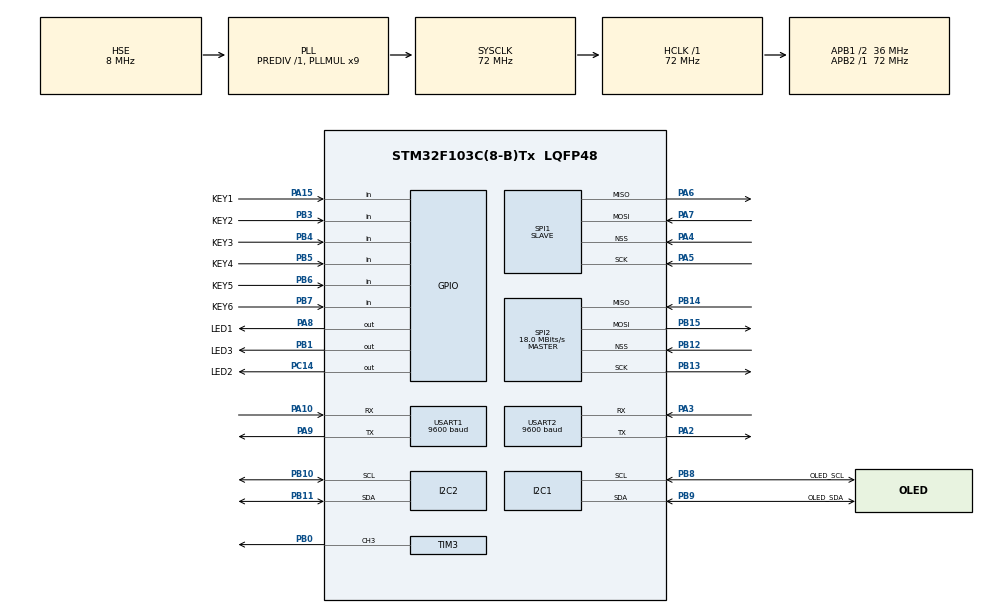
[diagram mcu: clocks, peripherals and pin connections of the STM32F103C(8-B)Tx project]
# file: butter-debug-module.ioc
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Dma.Request0=USART1_RX
Dma.Request1=USART1_TX
Dma.Request2=USART2_RX
Dma.Request3=USART2_TX
Dma.USART1_RX.0.Direction=DMA_PERIPH_TO_MEMORY
Dma.USART1_RX.0.Instance=DMA1_Channel5
Dma.USART1_RX.0.MemDataAlignment=DMA_MDATAALIGN_BYTE
Dma.USART1_RX.0.MemInc=DMA_MINC_ENABLE
Dma.USART1_RX.0.Mode=DMA_NORMAL
Dma.USART1_RX.0.PeriphDataAlignment=DMA_PDATAALIGN_BYTE
Dma.USART1_RX.0.PeriphInc=DMA_PINC_DISABLE
Dma.USART1_RX.0.Priority=DMA_PRIORITY_LOW
Dma.USART1_TX.1.Direction=DMA_MEMORY_TO_PERIPH
Dma.USART1_TX.1.Instance=DMA1_Channel4
Dma.USART1_TX.1.MemDataAlignment=DMA_MDATAALIGN_BYTE
Dma.USART1_TX.1.MemInc=DMA_MINC_ENABLE
Dma.USART1_TX.1.Mode=DMA_NORMAL
Dma.USART1_TX.1.PeriphDataAlignment=DMA_PDATAALIGN_BYTE
Dma.USART1_TX.1.PeriphInc=DMA_PINC_DISABLE
Dma.USART1_TX.1.Priority=DMA_PRIORITY_LOW
Dma.USART2_RX.2.Direction=DMA_PERIPH_TO_MEMORY
Dma.USART2_RX.2.Instance=DMA1_Channel6
Dma.USART2_RX.2.MemDataAlignment=DMA_MDATAALIGN_BYTE
Dma.USART2_RX.2.MemInc=DMA_MINC_ENABLE
Dma.USART2_RX.2.Mode=DMA_NORMAL
Dma.USART2_RX.2.PeriphDataAlignment=DMA_PDATAALIGN_BYTE
Dma.USART2_RX.2.PeriphInc=DMA_PINC_DISABLE
Dma.USART2_RX.2.Priority=DMA_PRIORITY_LOW
Dma.USART2_TX.3.Direction=DMA_MEMORY_TO_PERIPH
Dma.USART2_TX.3.Instance=DMA1_Channel7
Dma.USART2_TX.3.MemDataAlignment=DMA_MDATAALIGN_BYTE
Dma.USART2_TX.3.MemInc=DMA_MINC_ENABLE
Dma.USART2_TX.3.Mode=DMA_NORMAL
Dma.USART2_TX.3.PeriphDataAlignment=DMA_PDATAALIGN_BYTE
Dma.USART2_TX.3.PeriphInc=DMA_PINC_DISABLE
Dma.USART2_TX.3.Priority=DMA_PRIORITY_LOW
FREERTOS.INCLUDE_vTaskDelayUntil=1
FREERTOS.Queues01=queuekey1,16,uint8_t,0,Dynamic,NULL,NULL
FREERTOS.Tasks01=defaultTask,-3,128,StartDefaultTask,Default,NULL,Dynamic,NULL,NULL;Buzzer_task,-1,128,buzzer_task,As external,NULL,Dynamic,NULL,NULL;Button_task,-1,128,button_task,As external,NULL,Dynamic,NULL,NULL;LED2_task,-2,128,led2_task,As external,NULL,Dynamic,NULL,NULL;LED3_task,-2,128,led3_task,As external,NULL,Dynamic,NULL,NULL;LED1_task,-2,128,led1_task,As external,NULL,Dynamic,NULL,NULL;ShellTask,-2,128,shellTask,As external,NULL,Dynamic,NULL,NULL
FREERTOS.configMAX_PRIORITIES=32
FREERTOS.configTOTAL_HEAP_SIZE=4476
FREERTOS.configUSE_COUNTING_SEMAPHORES=1
FREERTOS.configUSE_IDLE_HOOK=0
FREERTOS.configUSE_PREEMPTION=1
FREERTOS.configUSE_RECURSIVE_MUTEXES=1
FREERTOS.configUSE_TASK_NOTIFICATIONS=1
FREERTOS.configUSE_TRACE_FACILITY=1
Mcu.Family=STM32F1
Mcu.Name=STM32F103C(8-B)Tx
Mcu.Package=LQFP48
NVIC.DMA1_Channel4_IRQn=true\:5\:0\:true\:false\:true\:true\:false\:true\:true
NVIC.DMA1_Channel5_IRQn=true\:5\:0\:true\:false\:true\:true\:false\:true\:true
NVIC.DMA1_Channel6_IRQn=true\:5\:0\:false\:false\:true\:true\:false\:true\:true
NVIC.DMA1_Channel7_IRQn=true\:5\:0\:false\:false\:true\:true\:false\:true\:true
NVIC.PriorityGroup=NVIC_PRIORITYGROUP_4
NVIC.TIM1_UP_IRQn=true\:15\:0\:false\:false\:true\:false\:false\:true\:true
NVIC.TIM2_IRQn=true\:5\:0\:true\:false\:true\:true\:true\:true\:true
NVIC.TIM3_IRQn=true\:5\:0\:true\:false\:true\:true\:true\:true\:true
NVIC.TimeBase=TIM1_UP_IRQn
NVIC.TimeBaseIP=TIM1
NVIC.USART1_IRQn=true\:5\:0\:true\:false\:true\:true\:true\:true\:true
NVIC.USART2_IRQn=true\:5\:0\:true\:false\:true\:true\:true\:true\:true
PA10.GPIO_PuPd=GPIO_PULLUP
PA10.Mode=Asynchronous
PA10.Signal=USART1_RX
PA13.Mode=Serial_Wire
PA13.Signal=SYS_JTMS-SWDIO
PA14.Mode=Serial_Wire
PA14.Signal=SYS_JTCK-SWCLK
PA15.GPIO_Label=KEY1
PA15.GPIO_PuPd=GPIO_PULLUP
PA15.Signal=GPIO_Input
PA2.Mode=Asynchronous
PA2.Signal=USART2_TX
PA3.Mode=Asynchronous
PA3.Signal=USART2_RX
PA4.Mode=NSS_Signal_Hard_Input
PA4.Signal=SPI1_NSS
PA5.Mode=Full_Duplex_Slave
PA5.Signal=SPI1_SCK
PA6.Mode=Full_Duplex_Slave
PA6.Signal=SPI1_MISO
PA7.Mode=Full_Duplex_Slave
PA7.Signal=SPI1_MOSI
PA8.GPIO_Label=LED1
PA8.GPIO_ModeDefaultOutputPP=GPIO_MODE_OUTPUT_PP
PA8.GPIO_PuPd=GPIO_PULLUP
PA8.GPIO_Speed=GPIO_SPEED_FREQ_MEDIUM
PA8.PinState=GPIO_PIN_RESET
PA8.Signal=GPIO_Output
PA9.Mode=Asynchronous
PA9.Signal=USART1_TX
PB0.Signal=S_TIM3_CH3
PB1.GPIO_Label=LED3
PB1.GPIO_PuPd=GPIO_PULLUP
PB1.GPIO_Speed=GPIO_SPEED_FREQ_MEDIUM
PB1.Signal=GPIO_Output
PB10.Mode=I2C
PB10.Signal=I2C2_SCL
PB11.Mode=I2C
PB11.Signal=I2C2_SDA
PB12.Mode=NSS_Signal_Hard_Input
PB12.Signal=SPI2_NSS
PB13.Mode=Full_Duplex_Master
PB13.Signal=SPI2_SCK
PB14.Mode=Full_Duplex_Master
PB14.Signal=SPI2_MISO
PB15.Mode=Full_Duplex_Master
PB15.Signal=SPI2_MOSI
PB3.GPIO_Label=KEY2
PB3.GPIO_PuPd=GPIO_PULLUP
PB3.Signal=GPIO_Input
PB4.GPIO_Label=KEY3
PB4.GPIO_PuPd=GPIO_PULLUP
PB4.Signal=GPIO_Input
PB5.GPIO_Label=KEY4
PB5.GPIO_PuPd=GPIO_PULLUP
PB5.Signal=GPIO_Input
PB6.GPIO_Label=KEY5
PB6.GPIO_PuPd=GPIO_PULLUP
PB6.Signal=GPIO_Input
PB7.GPIO_Label=KEY6
PB7.GPIO_PuPd=GPIO_PULLUP
PB7.Signal=GPIO_Input
PB8.GPIO_Label=OLED_SCL
PB8.Mode=I2C
PB8.Signal=I2C1_SCL
PB9.GPIO_Label=OLED_SDA
PB9.Mode=I2C
PB9.Signal=I2C1_SDA
PC14-OSC32_IN.GPIO_Label=LED2
PC14-OSC32_IN.GPIO_ModeDefaultOutputPP=GPIO_MODE_OUTPUT_PP
PC14-OSC32_IN.GPIO_PuPd=GPIO_PULLUP
PC14-OSC32_IN.GPIO_Speed=GPIO_SPEED_FREQ_MEDIUM
PC14-OSC32_IN.PinState=GPIO_PIN_RESET
PC14-OSC32_IN.Signal=GPIO_Output
PD0-OSC_IN.Mode=HSE-External-Oscillator
PD0-OSC_IN.Signal=RCC_OSC_IN
PD1-OSC_OUT.Mode=HSE-External-Oscillator
PD1-OSC_OUT.Signal=RCC_OSC_OUT
ProjectManager.HeapSize=0x200
ProjectManager.StackSize=0x400
ProjectManager.TargetToolchain=MDK-ARM V5.32
RCC.AHBFreq_Value=72000000
RCC.APB1CLKDivider=RCC_HCLK_DIV2
RCC.APB1Freq_Value=36000000
RCC.APB1TimFreq_Value=72000000
RCC.APB2Freq_Value=72000000
RCC.APB2TimFreq_Value=72000000
RCC.HCLKFreq_Value=72000000
RCC.PLLMUL=RCC_PLL_MUL9
RCC.PLLSourceVirtual=RCC_PLLSOURCE_HSE
RCC.SYSCLKFreq_VALUE=72000000
RCC.SYSCLKSource=RCC_SYSCLKSOURCE_PLLCLK
RCC.USBFreq_Value=48000000
RCC.USBPrescaler=RCC_USBCLKSOURCE_PLL_DIV1_5
SH.S_TIM3_CH3.0=TIM3_CH3,PWM Generation3 CH3
SPI1.DataSize=SPI_DATASIZE_16BIT
SPI1.Direction=SPI_DIRECTION_2LINES
SPI1.Mode=SPI_MODE_SLAVE
SPI1.VirtualNSS=VM_NSSHARD
SPI1.VirtualType=VM_SLAVE
SPI2.CalculateBaudRate=18.0 MBits/s
SPI2.Direction=SPI_DIRECTION_2LINES
SPI2.Mode=SPI_MODE_MASTER
SPI2.VirtualNSS=VM_NSSHARD
SPI2.VirtualType=VM_MASTER
TIM2.AutoReloadPreload=TIM_AUTORELOAD_PRELOAD_ENABLE
TIM2.Period=7200-1
TIM2.Prescaler=200-1
TIM3.Channel-PWM\ Generation3\ CH3=TIM_CHANNEL_3
USART1.BaudRate=9600
USART1.VirtualMode=VM_ASYNC
USART2.BaudRate=9600
USART2.VirtualMode=VM_ASYNC
VP_CRC_VS_CRC.Mode=CRC_Activate
VP_FREERTOS_VS_CMSIS_V1.Mode=CMSIS_V1
VP_SYS_VS_tim1.Mode=TIM1
VP_TIM2_VS_ClockSourceINT.Mode=Internal
VP_TIM3_VS_ClockSourceINT.Mode=Internal
board=custom

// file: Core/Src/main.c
/* USER CODE BEGIN Header */
/**
  ******************************************************************************
  * @file           : main.c
  * @brief          : Main program body
  ******************************************************************************
  * @attention
  *
  * Copyright (c) 2024 STMicroelectronics.
  * All rights reserved.
  *
  * This software is licensed under terms that can be found in the LICENSE file
  * in the root directory of this software component.
  * If no LICENSE file comes with this software, it is provided AS-IS.
  *
  ******************************************************************************
  */
/* USER CODE END Header */
#include "main.h"
#include "cmsis_os.h"
#include "crc.h"
#include "dma.h"
#include "i2c.h"
#include "spi.h"
#include "tim.h"
#include "usart.h"
#include "gpio.h"

/* USER CODE BEGIN Includes */
#include "stdio.h"
#include "bsp_usart.h"
#include "OLED_IIC_Config.h"
#include "OLED_Function.h"
#include "OLED_Front.h"
#include "Buzzer.h"
#include "KEY.h"
#include "multi_button.h"
#include "self_def_massage.h"
#include "ring_buffer.h"
#include "elog.h"
#include "elog_cfg.h"
#include "shell_port.h"
#include "button_motor.h"

/* USER CODE END Includes */

/* USER CODE BEGIN PTD */
//#define LOG_TAG  "main"
extern uint8_t DataBuff[BUF_SIZE];
extern DMA_HandleTypeDef hdma_usart1_rx;
//extern uint8_t KEY_flag;
//extern struct Button KEY_1;
extern uint8_t ringbuff[RING_BUFF_SIZE];
extern stRingBuff Ring_Buff;
/* USER CODE END PTD */

/* USER CODE BEGIN PD */
	#define LOG_TAG         "main"
static TaskHandle_t xHandleTaskUserIF = NULL;

//#ifdef __GNUC__
//#define PUTCHAR_PROTOTYPE int __io_putchar(int ch)
//#else
//#define PUTCHAR_PROTOTYPE int fputc(int ch, FILE *f)
//#endif
//PUTCHAR_PROTOTYPE
//{
//    /*	进入临界区	*/
//    taskENTER_CRITICAL();
//    HAL_UART_Transmit(&huart2, (uint8_t *)&ch, 1, 0xFFFF);
//    /*	退出临界区	*/
//    taskEXIT_CRITICAL();
//    return ch;
//}

/* USER CODE END PD */

/* USER CODE BEGIN PV */
uint8_t recv_buf = 0;
/* USER CODE END PV */

void SystemClock_Config(void);
void MX_FREERTOS_Init(void);
/* USER CODE BEGIN PFP */
int fputc(int ch, FILE *f)
{
  HAL_UART_Transmit(&huart1, (uint8_t *)&ch, 1, 0xffff);
  return ch;
}

int fgetc(FILE *f)
{
  uint8_t ch = 0;
  HAL_UART_Receive(&huart1, &ch, 1, 0xffff);
  return ch;
}
/* USER CODE END PFP */

/* USER CODE BEGIN 0 */
uint32_t temp = 0;

SHELL_EXPORT_VAR(SHELL_CMD_PERMISSION(0)|SHELL_CMD_TYPE(SHELL_TYPE_VAR_INT), temp, &temp, var for test);

static void vTaskTaskUserIF(void *pvParameters)
{

  while (1)
  {
    temp++;
    vTaskDelay(1000);
  }
}

void func(void)
{
  printf("Letter shell is OK\r\n");
}
SHELL_EXPORT_CMD(SHELL_CMD_PERMISSION(0) | SHELL_CMD_TYPE(SHELL_TYPE_CMD_FUNC), func, func, test);

/* USER CODE END 0 */

int main(void)
{

  /* MCU Configuration--------------------------------------------------------*/

  /* Reset of all peripherals, Initializes the Flash interface and the Systick. */
  HAL_Init();

  /* Configure the system clock */
  SystemClock_Config();

  /* Initialize all configured peripherals */
  MX_GPIO_Init();
  MX_DMA_Init();
  MX_I2C1_Init();
  MX_I2C2_Init();
  MX_SPI1_Init();
  MX_SPI2_Init();
  MX_TIM2_Init();
  MX_TIM3_Init();
  MX_USART1_UART_Init();
  MX_USART2_UART_Init();
  MX_CRC_Init();
  /* USER CODE BEGIN 2 */

   //Buttonmotorinit();//初始化
	ShellInit();
	xTaskCreate(vTaskTaskUserIF,     /* ????  */
              "vTaskUserIF",       /* ???    */
              512,                 /* ????????word????4?? */
              NULL,                /* ????  */
              17,                  /* ?????*/
              &xHandleTaskUserIF); /* ????  */
  /* USER CODE END 2 */

  /* Call init function for freertos objects (in freertos.c) */
  MX_FREERTOS_Init();

  /* Start scheduler */
  osKernelStart();

  /* We should never get here as control is now taken by the scheduler */
  /* Infinite loop */
  while (1)
  {

  }
}

void SystemClock_Config(void)
{
  RCC_OscInitTypeDef RCC_OscInitStruct = {0};
  RCC_ClkInitTypeDef RCC_ClkInitStruct = {0};

  /** Initializes the RCC Oscillators according to the specified parameters
  * in the RCC_OscInitTypeDef structure.
  */
  RCC_OscInitStruct.OscillatorType = RCC_OSCILLATORTYPE_HSE;
  RCC_OscInitStruct.HSEState = RCC_HSE_ON;
  RCC_OscInitStruct.HSEPredivValue = RCC_HSE_PREDIV_DIV1;
  RCC_OscInitStruct.HSIState = RCC_HSI_ON;
  RCC_OscInitStruct.PLL.PLLState = RCC_PLL_ON;
  RCC_OscInitStruct.PLL.PLLSource = RCC_PLLSOURCE_HSE;
  RCC_OscInitStruct.PLL.PLLMUL = RCC_PLL_MUL9;
  if (HAL_RCC_OscConfig(&RCC_OscInitStruct) != HAL_OK)
  {
    Error_Handler();
  }

  /** Initializes the CPU, AHB and APB buses clocks
  */
  RCC_ClkInitStruct.ClockType = RCC_CLOCKTYPE_HCLK|RCC_CLOCKTYPE_SYSCLK
                              |RCC_CLOCKTYPE_PCLK1|RCC_CLOCKTYPE_PCLK2;
  RCC_ClkInitStruct.SYSCLKSource = RCC_SYSCLKSOURCE_PLLCLK;
  RCC_ClkInitStruct.AHBCLKDivider = RCC_SYSCLK_DIV1;
  RCC_ClkInitStruct.APB1CLKDivider = RCC_HCLK_DIV2;
  RCC_ClkInitStruct.APB2CLKDivider = RCC_HCLK_DIV1;

  if (HAL_RCC_ClockConfig(&RCC_ClkInitStruct, FLASH_LATENCY_2) != HAL_OK)
  {
    Error_Handler();
  }
}

void HAL_TIM_PeriodElapsedCallback(TIM_HandleTypeDef *htim)
{
  if (htim->Instance == TIM1) {
    HAL_IncTick();
  }
}

void Error_Handler(void)
{
  __disable_irq();
  while (1)
  {
  }
}

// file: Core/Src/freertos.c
/* USER CODE BEGIN Header */
/**
  ******************************************************************************
  * File Name          : freertos.c
  * Description        : Code for freertos applications
  ******************************************************************************
  * @attention
  *
  * Copyright (c) 2024 STMicroelectronics.
  * All rights reserved.
  *
  * This software is licensed under terms that can be found in the LICENSE file
  * in the root directory of this software component.
  * If no LICENSE file comes with this software, it is provided AS-IS.
  *
  ******************************************************************************
  */
/* USER CODE END Header */

#include "FreeRTOS.h"
#include "task.h"
#include "main.h"
#include "cmsis_os.h"

osThreadId defaultTaskHandle;
osThreadId Buzzer_taskHandle;
osThreadId Button_taskHandle;
osThreadId LED2_taskHandle;
osThreadId LED3_taskHandle;
osThreadId LED1_taskHandle;
osThreadId ShellTaskHandle;
osMessageQId queuekey1Handle;

void StartDefaultTask(void const * argument);
extern void buzzer_task(void const * argument);
extern void button_task(void const * argument);
extern void led2_task(void const * argument);
extern void led3_task(void const * argument);
extern void led1_task(void const * argument);
extern void shellTask(void const * argument);

void MX_FREERTOS_Init(void); /* (MISRA C 2004 rule 8.1) */

/* GetIdleTaskMemory prototype (linked to static allocation support) */
void vApplicationGetIdleTaskMemory( StaticTask_t **ppxIdleTaskTCBBuffer, StackType_t **ppxIdleTaskStackBuffer, uint32_t *pulIdleTaskStackSize );

/* USER CODE BEGIN GET_IDLE_TASK_MEMORY */
static StaticTask_t xIdleTaskTCBBuffer;
static StackType_t xIdleStack[configMINIMAL_STACK_SIZE];

void vApplicationGetIdleTaskMemory( StaticTask_t **ppxIdleTaskTCBBuffer, StackType_t **ppxIdleTaskStackBuffer, uint32_t *pulIdleTaskStackSize )
{
  *ppxIdleTaskTCBBuffer = &xIdleTaskTCBBuffer;
  *ppxIdleTaskStackBuffer = &xIdleStack[0];
  *pulIdleTaskStackSize = configMINIMAL_STACK_SIZE;
  /* place for user code */
}
/* USER CODE END GET_IDLE_TASK_MEMORY */

void MX_FREERTOS_Init(void) {

  /* Create the queue(s) */
  /* definition and creation of queuekey1 */
  osMessageQDef(queuekey1, 16, uint8_t);
  queuekey1Handle = osMessageCreate(osMessageQ(queuekey1), NULL);

  /* Create the thread(s) */
  /* definition and creation of defaultTask */
  osThreadDef(defaultTask, StartDefaultTask, osPriorityIdle, 0, 128);
  defaultTaskHandle = osThreadCreate(osThread(defaultTask), NULL);

  /* definition and creation of Buzzer_task */
  osThreadDef(Buzzer_task, buzzer_task, osPriorityBelowNormal, 0, 128);
  Buzzer_taskHandle = osThreadCreate(osThread(Buzzer_task), NULL);

  /* definition and creation of Button_task */
  osThreadDef(Button_task, button_task, osPriorityBelowNormal, 0, 128);
  Button_taskHandle = osThreadCreate(osThread(Button_task), NULL);

  /* definition and creation of LED2_task */
  osThreadDef(LED2_task, led2_task, osPriorityLow, 0, 128);
  LED2_taskHandle = osThreadCreate(osThread(LED2_task), NULL);

  /* definition and creation of LED3_task */
  osThreadDef(LED3_task, led3_task, osPriorityLow, 0, 128);
  LED3_taskHandle = osThreadCreate(osThread(LED3_task), NULL);

  /* definition and creation of LED1_task */
  osThreadDef(LED1_task, led1_task, osPriorityLow, 0, 128);
  LED1_taskHandle = osThreadCreate(osThread(LED1_task), NULL);

  /* definition and creation of ShellTask */
  osThreadDef(ShellTask, shellTask, osPriorityLow, 0, 128);
  ShellTaskHandle = osThreadCreate(osThread(ShellTask), NULL);

}

void StartDefaultTask(void const * argument)
{
  for(;;)
  {
    osDelay(1);
  }
}
